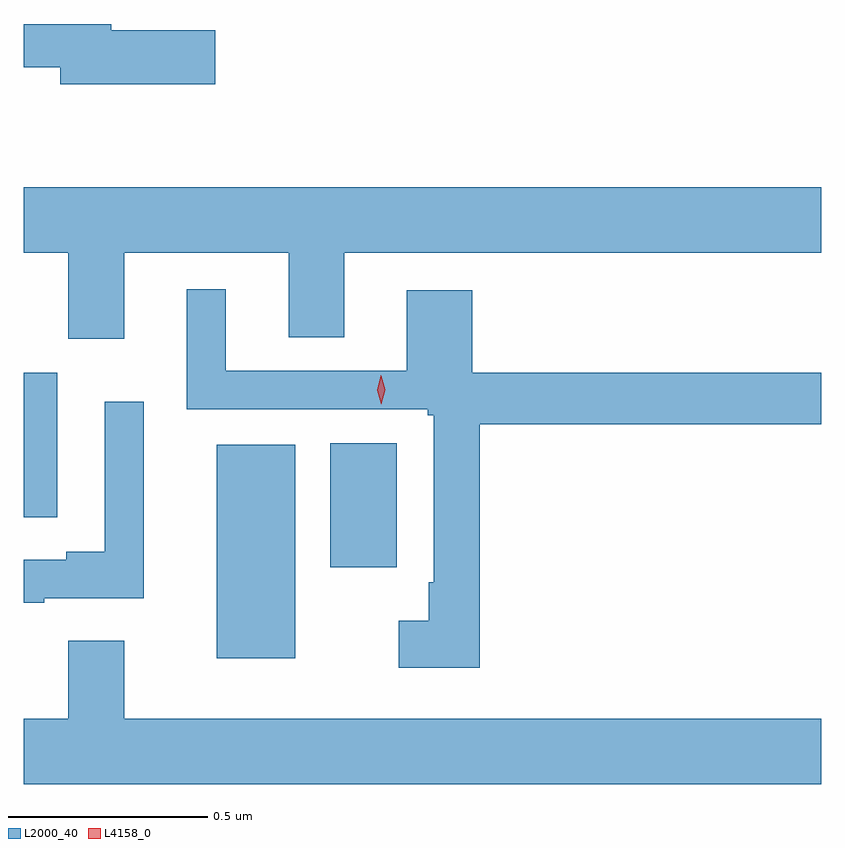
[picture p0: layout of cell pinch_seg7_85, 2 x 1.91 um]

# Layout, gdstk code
import gdstk
lib = gdstk.Library(unit=1e-6, precision=1e-09)
def R(c, l, rs):  # rectangles x0, y0, x1, y1
    for r in rs: c.add(gdstk.rectangle(r[:2], r[2:], *l))
def P(c, l, *ps):  # polygons
    for p in ps: c.add(gdstk.Polygon(p, *l))
L2000_40 = (2000, 40)
L4158_0 = (4158, 0)

pinch_seg7_85 = lib.new_cell('pinch_seg7_85')
R(pinch_seg7_85, L2000_40, [(915.653,1074.191,915.85,1074.727), (915.938,1074.42,916.105,1074.731), (915.169,1074.545,915.253,1074.907)])
P(pinch_seg7_85, L2000_40, [(915.649,1075.766),(915.388,1075.766),(915.388,1075.782),(915.169,1075.782),(915.169,1075.674),(915.26,1075.674),(915.26,1075.631),(915.649,1075.631)],
  [(915.421,1075.208),(915.833,1075.208),(915.833,1074.997),(915.973,1074.997),(915.973,1075.208),(917.169,1075.208),(917.169,1075.372),(915.169,1075.372),(915.169,1075.208),(915.281,1075.208),(915.281,1074.993),(915.421,1074.993)],
  [(916.313,1074.778),(917.169,1074.778),(917.169,1074.907),(916.294,1074.907),(916.294,1075.114),(916.13,1075.114),(916.13,1074.912),(915.676,1074.912),(915.676,1075.117),(915.578,1075.117),(915.578,1074.816),(916.182,1074.816),(916.182,1074.801),(916.197,1074.801),(916.197,1074.382),(916.185,1074.382),(916.185,1074.286),(916.11,1074.286),(916.11,1074.167),(916.313,1074.167)],
  [(915.22,1074.342),(915.47,1074.342),(915.47,1074.835),(915.372,1074.835),(915.372,1074.458),(915.275,1074.458),(915.275,1074.438),(915.169,1074.438),(915.169,1074.33),(915.22,1074.33)],
  [(917.169,1074.04),(915.421,1074.04),(915.421,1074.235),(915.281,1074.235),(915.281,1074.04),(915.169,1074.04),(915.169,1073.876),(917.169,1073.876)])
P(pinch_seg7_85, L4158_0, [(916.065,1074.829),(916.065,1074.829),(916.055,1074.864),(916.064,1074.9),(916.064,1074.901),(916.065,1074.9),(916.075,1074.865),(916.066,1074.829)])

lib.write_gds('pinch_seg7_85.gds')
